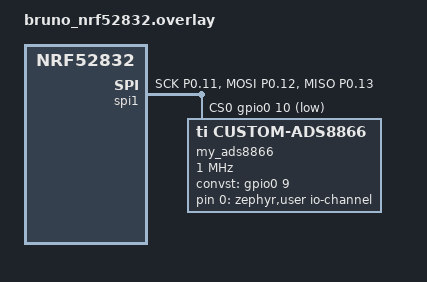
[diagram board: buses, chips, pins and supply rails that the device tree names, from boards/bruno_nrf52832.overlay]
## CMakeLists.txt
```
#-------------------------------------------------------------------------------
# Zephyr Example Application
#
# Copyright (c) 2021 Nordic Semiconductor ASA
# SPDX-License-Identifier: Apache-2.0

cmake_minimum_required(VERSION 3.21)


list(APPEND EXTRA_ZEPHYR_MODULES ${CMAKE_CURRENT_SOURCE_DIR}/../custom_driver_module )

find_package(Zephyr REQUIRED HINTS $ENV{ZEPHYR_BASE})

project(app LANGUAGES C)

target_sources(app PRIVATE src/main.c)
```

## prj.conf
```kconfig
#
# Copyright (c) 2024 Nordic Semiconductor
#
# SPDX-License-Identifier: LicenseRef-Nordic-5-Clause
#

CONFIG_LOG=y
CONFIG_ADC=y
CONFIG_SPI=y

CONFIG_LOG=y

# 1. Habilita o driver SPIM (moderno)
CONFIG_SOC_NRF52832_ALLOW_SPIM_DESPITE_PAN_58=y

# 2. Habilita o driver oficial do ADS7052
CONFIG_ADC_ADS8866=y

# (CONFIG_ADC_CONTEXT=y foi removido, pois é selecionado automaticamente)



# 3. Libera os pinos GPIO (símbolo corrigido)
# 5. Libera o pino 10 para GPIO (já estava no seu arquivo)
CONFIG_NFCT_PINS_AS_GPIOS=y
```

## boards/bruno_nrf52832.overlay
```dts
/*
 * Copyright (c) 2024 (Your Name)
 *
 * SPDX-License-Identifier: Apache-2.0
 */

/ {
    zephyr,user {
        /* Points to channel 0 of our 'my_ads8866' device */
        io-channels = <&my_ads8866 0>;
    };
};

/* --- Configuration --- */
/* Disable peripherals to avoid conflicts and save power */
&i2c0 { status = "disabled";};
&spi0 { status = "disabled";};
&i2c1 { status = "disabled";};
&adc {  status = "disabled";}; /* Disable the default nRF ADC */

&spi1 {
    /*
     * Correct: Using "nrf-spim" (modern driver)
     * to support "cs-gpios" and resolve potential hangs.
     */
    compatible = "nordic,nrf-spi"; /* Use the SPI Master driver */
    status = "okay"; /* Enable the SPI1 peripheral */
    pinctrl-0 = <&spi1_default>;
    pinctrl-1 = <&spi1_sleep>;
    pinctrl-names = "default", "sleep";
    
    /* * Define the Chip Select pin as a GPIO.
     * In 4-wire mode, this connects to DIN on the ADS8866.
     */
    cs-gpios = <&gpio0 10 GPIO_ACTIVE_LOW>; 

    /*
     * Device node changed to use the custom_ADS8866 driver
     */
    my_ads8866: ads8866@0 {
        /* Must match the binding ti,ADS8866.yaml */
        compatible = "ti,custom-ads8866";
        reg = <0>; /* SPI chip select address */
        spi-max-frequency = <1000000>; /* 1 MHz SPI clock */

        /* Pin that controls the start of conversion */
        convst-gpios = <&gpio0 9 GPIO_ACTIVE_HIGH>; /* Or the pin you connected */

        /* Standard properties from 'adc-controller.yaml' */
        #address-cells = <1>;
        #size-cells = <0>;
        #io-channel-cells = <1>;

        /* Channel properties for the custom_ADS8866.c driver */
        channel@0 {       
            reg = <0>;
            zephyr,resolution = <16>; /* ADS8866 resolution */            
            zephyr,gain = "ADC_GAIN_1"; /* Supported by the driver */
            zephyr,reference = "ADC_REF_EXTERNAL0"; /* Supported by the driver */
            zephyr,acquisition-time = <ADC_ACQ_TIME_DEFAULT>; /* Supported by the driver */
            zephyr,vref-mv = <3300>; /* External reference voltage in mV */
        };
    };
};

/* Pin control definitions for SPI1 (SCK, MOSI, MISO) */
&pinctrl {
    spi1_default: spi1_default {
        group1 {
            psels = <NRF_PSEL(SPIM_SCK, 0, 11)>,
                    <NRF_PSEL(SPIM_MOSI, 0, 12)>,
                    <NRF_PSEL(SPIM_MISO, 0, 13)>;
        };
    };
    spi1_sleep: spi1_sleep {
        group1 {
            psels = <NRF_PSEL(SPIM_SCK, 0, 11)>,
                    <NRF_PSEL(SPIM_MOSI, 0, 12)>,
                    <NRF_PSEL(SPIM_MISO, 0, 13)>;
            low-power-enable;
        };
    };
};
```

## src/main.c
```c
/*
 * Copyright (c) 2024 Nordic Semiconductor ASA
 *
 * SPDX-License-Identifier: LicenseRef-Nordic-5-Clause
 */

#include <zephyr/kernel.h>
#include <zephyr/device.h>
#include <zephyr/devicetree.h>
#include <zephyr/drivers/gpio.h>
#include <zephyr/logging/log.h>
#include <zephyr/drivers/adc.h>

/* Get the ADC channel specification from the devicetree's 'zephyr,user' node */
static const struct adc_dt_spec adc_channel = ADC_DT_SPEC_GET(DT_PATH(zephyr_user));

/* Get the GPIO specification for the LED (aliased as 'led0') */
const struct gpio_dt_spec ledspec = GPIO_DT_SPEC_GET(DT_NODELABEL(led0), gpios);

/* Register the log module */
LOG_MODULE_REGISTER(Lesson6_Exercise1, LOG_LEVEL_DBG);

int main(void)
{
	int err; /* Variable to store error codes */
	uint32_t count = 0; /* Simple counter for logging */
	uint16_t buf; /* Single-sample buffer for the ADC */
	struct adc_sequence sequence = {
		.buffer = &buf,
		/* We are reading one 16-bit sample (sizeof(uint16_t)) */
		.buffer_size = sizeof(buf),
	};

	/* --- DIAGNOSTIC LOG --- */
	LOG_INF("Application started. Checking devices...");

	/* Check if the ADC controller device is ready to use */
	if (!adc_is_ready_dt(&adc_channel)) {
		/* Fixed typo: "devivce" -> "device" */
		LOG_ERR("ADC controller device %s not ready", adc_channel.dev->name);
		return 0; /* Halt execution if ADC is not ready */
	}

	/* --- DIAGNOSTIC LOG --- */
	LOG_INF("ADC device %s is ready.", adc_channel.dev->name);

	/* Configure the ADC channel using settings from the devicetree */
	err = adc_channel_setup_dt(&adc_channel);
	if (err < 0) {
		LOG_ERR("Could not setup channel #%d (%d)", 0, err);
		return 0;
	}

	/* Initialize the ADC sequence structure */
	err = adc_sequence_init_dt(&adc_channel, &sequence);
	if (err < 0) {
		/* Fixed typo: "initalize sequnce" -> "initialize sequence" */
		LOG_ERR("Could not initialize sequence (%d)", err);
		return 0;
	}

	/* Check if the GPIO controller for the LED is ready */
	err = gpio_is_ready_dt(&ledspec);
	if (!err) {
		LOG_ERR("Error: GPIO device is not ready, err: %d", err);
		return 0;
	}

	/* --- DIAGNOSTIC LOG --- */
	LOG_INF("Setup complete. Entering main loop...");

	/* Configure the LED pin as an active-high output */
	gpio_pin_configure_dt(&ledspec, GPIO_OUTPUT_ACTIVE);

	/* Main application loop */
	while (1) {
		int32_t val_mv; /* Variable to hold the millivolt conversion */

		/* --- DIAGNOSTIC LOG --- */
		LOG_INF("Attempting to read from ADC...");

		
		/* Perform a blocking read from the ADC */
		err = adc_read(adc_channel.dev, &sequence);

		/* * This is dead code (while(0)) and will never execute.
		 * It was likely used for debugging the LED.
		 */
		while(0){		
			gpio_pin_toggle_dt(&ledspec);
			k_msleep(100);
		}

		/* Check for errors during the read operation */
		if (err < 0) {
			LOG_ERR("Could not read (%d)", err);
			continue; /* Skip the rest of the loop and try again */
		}

		
		/* * The raw buffer 'buf' (uint16_t) is now populated.
		 * Copy it to 'val_mv' (int32_t) for processing.
		 */
		val_mv = (int32_t)buf;

		/* Log the raw ADC value */
		LOG_INF("ADC reading[%u]: %s, channel %d: Raw: %u", count++, adc_channel.dev->name,
                adc_channel.channel_id, buf);

		/* * Convert the raw value to millivolts using the properties
		 * defined in the devicetree (vref-mv, gain, etc.)
		 */
		err = adc_raw_to_millivolts_dt(&adc_channel, &val_mv);
        if (err < 0) {
			/* Log a warning if conversion is not possible */
            LOG_WRN(" (value in mV not available)\n");
        } else {
            /* 3. Print the NEW 'val_mv' value, which is now in mV. */
            LOG_INF(" = %d mV", val_mv);
        }

		/* Wait for 1 second before the next reading */
		k_sleep(K_MSEC(1000));
	}
	return 0; /* Should never be reached */
}
```
